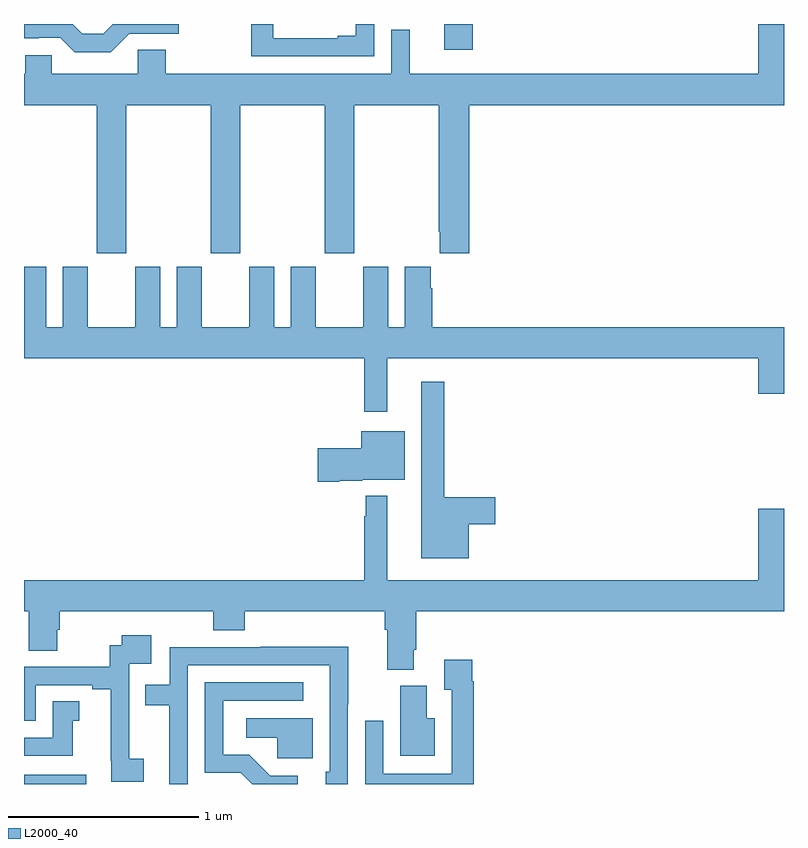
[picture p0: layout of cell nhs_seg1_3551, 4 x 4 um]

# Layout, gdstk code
import gdstk
lib = gdstk.Library(unit=1e-6, precision=1e-09)
def R(c, l, rs):  # rectangles x0, y0, x1, y1
    for r in rs: c.add(gdstk.rectangle(r[:2], r[2:], *l))
def P(c, l, *ps):  # polygons
    for p in ps: c.add(gdstk.Polygon(p, *l))
L2000_40 = (2000, 40)

nhs_seg1_3551 = lib.new_cell('nhs_seg1_3551')
R(nhs_seg1_3551, L2000_40, [(305,508.199,305.328,508.248), (307.211,512.064,307.361,512.199)])
P(nhs_seg1_3551, L2000_40, [(305.553,512.148),(305.814,512.148),(305.814,512.199),(305.466,512.199),(305.416,512.149),(305.306,512.149),(305.256,512.199),(305,512.199),(305,512.124),(305.078,512.124),(305.078,512.127),(305.19,512.127),(305.266,512.051),(305.456,512.051)],
  [(306.843,512.199),(306.746,512.199),(306.746,512.137),(306.65,512.137),(306.65,512.124),(306.312,512.124),(306.312,512.199),(306.197,512.199),(306.197,512.028),(306.843,512.028)],
  [(305.538,511.772),(305.983,511.772),(305.983,510.993),(306.138,510.993),(306.138,511.772),(306.583,511.772),(306.583,510.993),(306.738,510.993),(306.738,511.772),(307.183,511.772),(307.183,511.105),(307.187,511.105),(307.187,510.993),(307.343,510.993),(307.343,511.772),(309,511.772),(309,512.199),(308.864,512.199),(308.864,511.936),(307.031,511.936),(307.031,512.17),(306.933,512.17),(306.933,511.936),(305.745,511.936),(305.745,512.063),(305.598,512.063),(305.598,511.936),(305.145,511.936),(305.145,512.034),(305.007,512.034),(305.007,511.936),(305,511.936),(305,511.772),(305.383,511.772),(305.383,510.993),(305.538,510.993)],
  [(306.913,510.44),(308.864,510.44),(308.864,510.252),(309,510.252),(309,510.604),(307.148,510.604),(307.148,510.809),(307.141,510.809),(307.141,510.922),(307.004,510.922),(307.004,510.604),(306.916,510.604),(306.916,510.922),(306.785,510.922),(306.785,510.604),(306.535,510.604),(306.535,510.922),(306.404,510.922),(306.404,510.604),(306.316,510.604),(306.316,510.922),(306.185,510.922),(306.185,510.604),(305.935,510.604),(305.935,510.922),(305.804,510.922),(305.804,510.604),(305.716,510.604),(305.716,510.922),(305.585,510.922),(305.585,510.604),(305.335,510.604),(305.335,510.922),(305.204,510.922),(305.204,510.604),(305.116,510.604),(305.116,510.922),(305,510.922),(305,510.44),(306.792,510.44),(306.792,510.159),(306.913,510.159)],
  [(307.342,509.566),(307.48,509.566),(307.48,509.708),(307.213,509.708),(307.213,510.316),(307.091,510.316),(307.091,509.387),(307.342,509.387)],
  [(306.658,509.795),(306.78,509.795),(306.78,509.801),(307.003,509.801),(307.003,510.055),(306.776,510.055),(306.776,509.967),(306.546,509.967),(306.546,509.789),(306.658,509.789)],
  [(307.051,508.906),(307.064,508.906),(307.064,509.108),(309,509.108),(309,509.647),(308.864,509.647),(308.864,509.272),(306.913,509.272),(306.913,509.716),(306.799,509.716),(306.799,509.609),(306.792,509.609),(306.792,509.272),(305,509.272),(305,509.108),(305.024,509.108),(305.024,508.9),(305.176,508.9),(305.176,509.01),(305.189,509.01),(305.189,509.108),(305.996,509.108),(305.996,509.009),(306.161,509.009),(306.161,509.108),(306.899,509.108),(306.899,509.012),(306.911,509.012),(306.911,508.801),(307.051,508.801)],
  [(305.629,508.332),(305.555,508.332),(305.555,508.529),(305.553,508.529),(305.553,508.833),(305.671,508.833),(305.671,508.981),(305.515,508.981),(305.515,508.929),(305.452,508.929),(305.452,508.815),(305,508.815),(305,508.533),(305.061,508.533),(305.061,508.719),(305.36,508.719),(305.36,508.699),(305.456,508.699),(305.456,508.321),(305.458,508.321),(305.458,508.21),(305.629,508.21)],
  [(305.862,508.824),(306.609,508.824),(306.609,508.263),(306.587,508.263),(306.587,508.199),(306.705,508.199),(306.705,508.618),(306.707,508.618),(306.707,508.922),(306.244,508.922),(306.244,508.92),(305.766,508.92),(305.766,508.722),(305.638,508.722),(305.638,508.614),(305.765,508.614),(305.765,508.199),(305.862,508.199)],
  [(307.367,508.739),(307.36,508.739),(307.36,508.852),(307.211,508.852),(307.211,508.696),(307.251,508.696),(307.251,508.254),(306.891,508.254),(306.891,508.531),(306.795,508.531),(306.795,508.199),(307.367,508.199)],
  [(306.442,508.242),(306.297,508.242),(306.186,508.353),(306.048,508.353),(306.048,508.638),(306.469,508.638),(306.469,508.734),(305.952,508.734),(305.952,508.257),(306.141,508.257),(306.2,508.199),(306.442,508.199)],
  [(307.162,508.546),(307.12,508.546),(307.12,508.716),(306.98,508.716),(306.98,508.349),(307.162,508.349)],
  [(305.257,508.531),(305.29,508.531),(305.29,508.634),(305.15,508.634),(305.15,508.443),(305,508.443),(305,508.347),(305.257,508.347)],
  [(306.52,508.546),(306.171,508.546),(306.171,508.442),(306.333,508.442),(306.333,508.335),(306.52,508.335)])

lib.write_gds('nhs_seg1_3551.gds')
